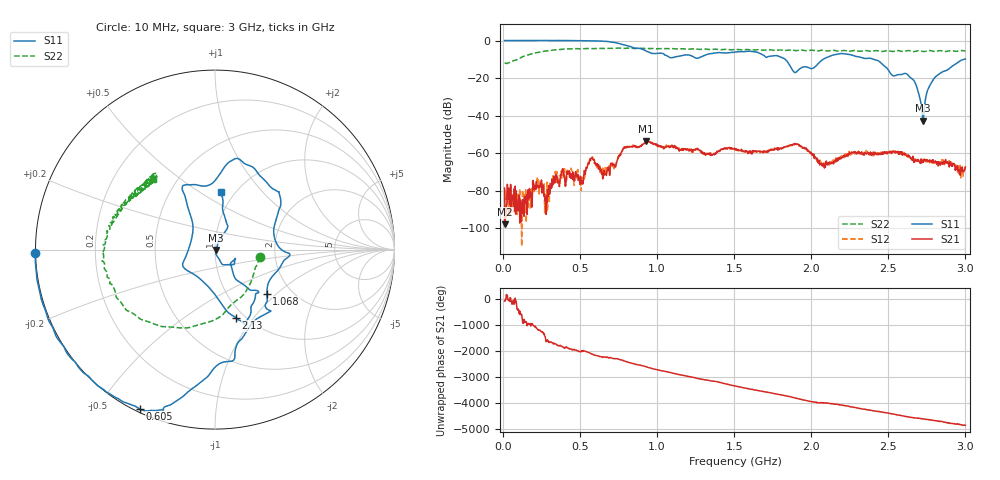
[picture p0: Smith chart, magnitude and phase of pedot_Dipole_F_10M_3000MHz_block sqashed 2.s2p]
!  08/05/2026  14:51:13
! Ref Plane: 0.000 mm
# MHZ S MA R  50
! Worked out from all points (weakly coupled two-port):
!   1001 points, 10 MHz to 3 GHz, reference 50 ohm
!   highest |S21| = -53.44 dB at 927.9 MHz (marker M1); lowest = -97.8 dB at 12.99 MHz (marker M2)
!   lowest |S11| = -42.7 dB at 2.725 GHz (marker M3), VSWR 1.01, Z = 50.7 - j0.197 ohm
!   |S11| at or under -10 dB: 1.831 GHz to 2.077 GHz (245.6 MHz wide, 12.6 % of centre); 2.406 GHz to 2.991 GHz (585 MHz wide, 21.7 % of centre)
!   |S22| runs from -12.2 to -4.0 dB; largest |S21 - S12| = 0.00031
!   S11 on the Smith chart (normalised r, x): 10 MHz: -0.00, -0.01; 605 MHz: 0.01, -0.63; 1.068 GHz: 1.51, -0.87; 2.13 GHz: 0.91, -0.82; 3 GHz: 0.86, +0.62
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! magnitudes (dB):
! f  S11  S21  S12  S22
! 10 MHz  0.0  -78.5  -85.2  -12.0
! 12.99 MHz  0.0  -97.8  -79.8  -12.0
! 285.1 MHz  0.1  -86.5  -75.3  -5.5
! 431.6 MHz  0.0  -72.7  -73.0  -4.4
! 509.3 MHz  0.0  -75.3  -75.0  -4.4
! 566.1 MHz  -0.1  -63.8  -63.7  -4.2
! 605 MHz  -0.2  -66.7  -66.2  -4.2
! 655.8 MHz  -0.4  -69.0  -72.5  -4.2
! 790.4 MHz  -2.3  -57.2  -57.2  -4.1
! 927.9 MHz  -5.6  -53.4  -53.9  -4.3
! 1.009 GHz  -6.7  -55.9  -56.0  -4.3
! 1.068 GHz  -8.4  -56.4  -55.9  -4.3
! 1.505 GHz  -6.1  -58.2  -58.2  -4.7
! 1.789 GHz  -8.3  -57.5  -57.4  -5.0
! 1.9 GHz  -16.9  -55.0  -54.9  -5.4
! 2.004 GHz  -14.9  -61.0  -60.6  -5.1
! 2.13 GHz  -8.0  -65.2  -64.3  -5.2
! 2.504 GHz  -16.1  -59.9  -59.2  -5.4
! 2.659 GHz  -20.6  -61.6  -62.1  -5.8
! 2.725 GHz  -42.7  -64.9  -63.3  -5.8
! 2.8 GHz  -19.9  -64.4  -64.6  -5.9
! 3 GHz  -9.8  -67.3  -67.1  -5.7
